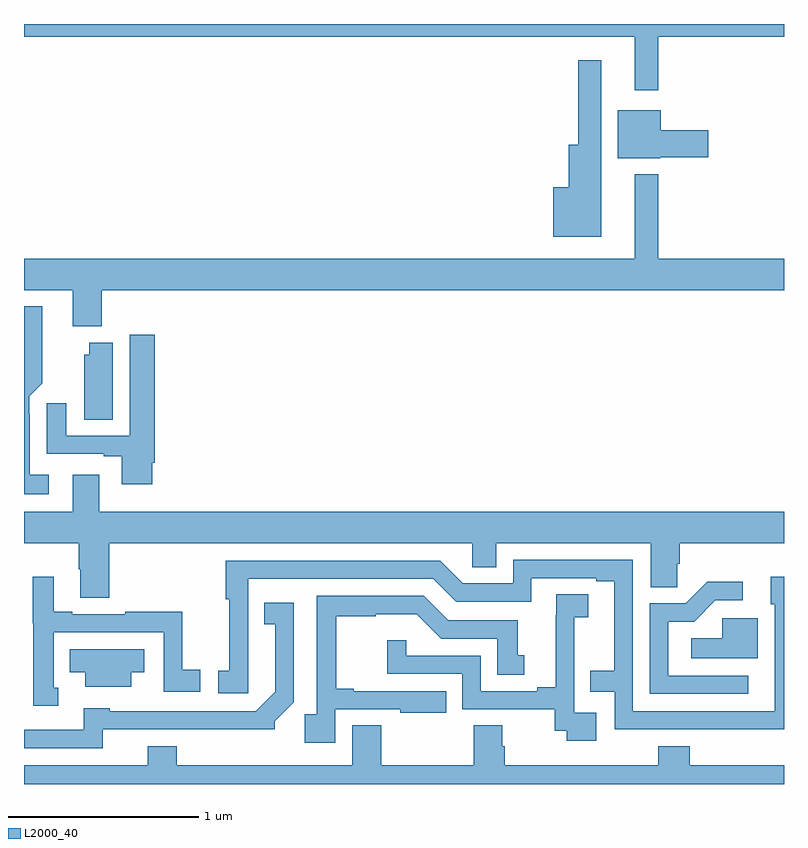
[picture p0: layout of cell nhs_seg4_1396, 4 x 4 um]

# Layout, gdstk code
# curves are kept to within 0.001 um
import gdstk
lib = gdstk.Library(unit=1e-6, precision=1e-09)
def P(c, l, *ps):  # polygons
    for p in ps: c.add(gdstk.Polygon(p, *l))
L2000_40 = (2000, 40)

nhs_seg4_1396 = lib.new_cell('nhs_seg4_1396')
P(nhs_seg4_1396, L2000_40, [(186.337,784.832),(187,784.832),(187,784.9),(183,784.9),(183,784.832),(186.215,784.832),(186.215,784.551),(186.337,784.551)],
  [(186.037,784.708),(185.916,784.708),(185.916,784.264),(185.867,784.264),(185.867,784.042),(185.786,784.042),(185.786,783.779),(186.037,783.779)],
  [(186.348,784.199),(186.601,784.199),(186.601,784.341),(186.352,784.341),(186.352,784.447),(186.125,784.447),(186.125,784.193),(186.348,784.193)],
  [(183.41,783.5),(187,783.5),(187,783.664),(186.337,783.664),(186.337,784.108),(186.215,784.108),(186.215,783.664),(183,783.664),(183,783.5),(183.257,783.5),(183.257,783.308),(183.41,783.308)],
  [(183.13,782.527),(183.031,782.527),(183.031,782.846),(183.027,782.846),(183.027,782.94),(183.097,783.01),(183.097,783.112),(183.096,783.112),(183.096,783.415),(183,783.415),(183,782.426),(183.13,782.426)],
  [(183.676,782.59),(183.689,782.59),(183.689,783.265),(183.557,783.265),(183.557,782.733),(183.223,782.733),(183.223,782.905),(183.119,782.905),(183.119,782.637),(183.419,782.637),(183.419,782.625),(183.515,782.625),(183.515,782.478),(183.676,782.478)],
  [(183.466,783.223),(183.344,783.223),(183.344,783.159),(183.317,783.159),(183.317,782.818),(183.466,782.818)],
  [(183.397,782.527),(183.257,782.527),(183.257,782.332),(183,782.332),(183,782.168),(183.289,782.168),(183.289,782.03),(183.296,782.03),(183.296,781.879),(183.449,781.879),(183.449,782.168),(185.358,782.168),(185.358,782.041),(185.485,782.041),(185.485,782.168),(186.299,782.168),(186.299,781.936),(186.438,781.936),(186.438,782.059),(186.452,782.059),(186.452,782.168),(187,782.168),(187,782.332),(183.397,782.332)],
  [(187,781.99),(186.929,781.99),(186.929,781.845),(186.951,781.845),(186.951,781.284),(186.204,781.284),(186.204,782.079),(185.574,782.079),(185.574,781.956),(185.31,781.956),(185.19,782.076),(184.063,782.076),(184.063,781.873),(184.081,781.873),(184.081,781.497),(184.023,781.497),(184.023,781.377),(184.18,781.377),(184.179,781.98),(185.154,781.98),(185.274,781.86),(185.67,781.86),(185.67,781.983),(186.011,781.983),(186.011,781.968),(186.107,781.968),(186.107,781.495),(185.98,781.495),(185.98,781.386),(186.108,781.386),(186.108,781.188),(187,781.187)],
  [(183.181,781.407),(183.156,781.407),(183.156,781.698),(183.735,781.698),(183.735,781.386),(183.928,781.386),(183.928,781.502),(183.834,781.502),(183.834,781.807),(183.532,781.807),(183.532,781.794),(183.253,781.794),(183.253,781.807),(183.157,781.807),(183.157,781.99),(183.047,781.99),(183.047,781.745),(183.048,781.745),(183.048,781.313),(183.181,781.313)],
  [(186.811,781.47),(186.39,781.47),(186.39,781.755),(186.528,781.755),(186.639,781.866),(186.784,781.866),(186.784,781.964),(186.596,781.964),(186.483,781.851),(186.294,781.851),(186.294,781.374),(186.811,781.374)],
  [(186.013,781.275),(185.895,781.275),(185.895,781.579),(185.897,781.579),(185.897,781.777),(185.971,781.777),(185.971,781.898),(185.8,781.898),(185.8,781.787),(185.798,781.787),(185.798,781.409),(185.702,781.409),(185.702,781.389),(185.403,781.389),(185.403,781.575),(185.013,781.575),(185.013,781.657),(184.912,781.657),(184.912,781.479),(185.307,781.479),(185.307,781.293),(185.794,781.293),(185.794,781.179),(185.857,781.179),(185.857,781.128),(186.013,781.128)],
  [(184.638,781.293),(184.979,781.293),(184.979,781.274),(185.222,781.274),(185.222,781.389),(184.735,781.389),(184.735,781.402),(184.643,781.402),(184.643,781.782),(184.85,781.782),(184.85,781.793),(185.068,781.793),(185.196,781.665),(185.492,781.665),(185.492,781.474),(185.632,781.474),(185.632,781.578),(185.599,781.578),(185.599,781.761),(185.232,781.761),(185.103,781.89),(184.542,781.89),(184.542,781.267),(184.477,781.267),(184.477,781.116),(184.638,781.116)],
  [(183.414,781.188),(184.32,781.187),(184.32,781.231),(184.419,781.33),(184.419,781.855),(184.264,781.855),(184.264,781.742),(184.322,781.742),(184.322,781.385),(184.221,781.284),(183.45,781.284),(183.45,781.3),(183.314,781.3),(183.314,781.185),(183,781.185),(183,781.089),(183.414,781.089)],
  [(186.862,781.773),(186.675,781.773),(186.675,781.666),(186.513,781.666),(186.513,781.562),(186.862,781.562)],
  [(183.565,781.487),(183.634,781.487),(183.634,781.609),(183.241,781.609),(183.241,781.487),(183.323,781.487),(183.323,781.412),(183.565,781.412)],
  [(185.366,781.208),(185.366,781),(184.88,781),(184.88,781.208),(184.727,781.208),(184.727,781),(183.803,781),(183.803,781.099),(183.65,781.099),(183.65,781),(183,781),(183,780.9),(187,780.9),(187,781),(186.503,781),(186.503,781.099),(186.338,781.099),(186.338,781),(185.531,781),(185.531,781.098),(185.518,781.098),(185.518,781.208)])

lib.write_gds('nhs_seg4_1396.gds')
